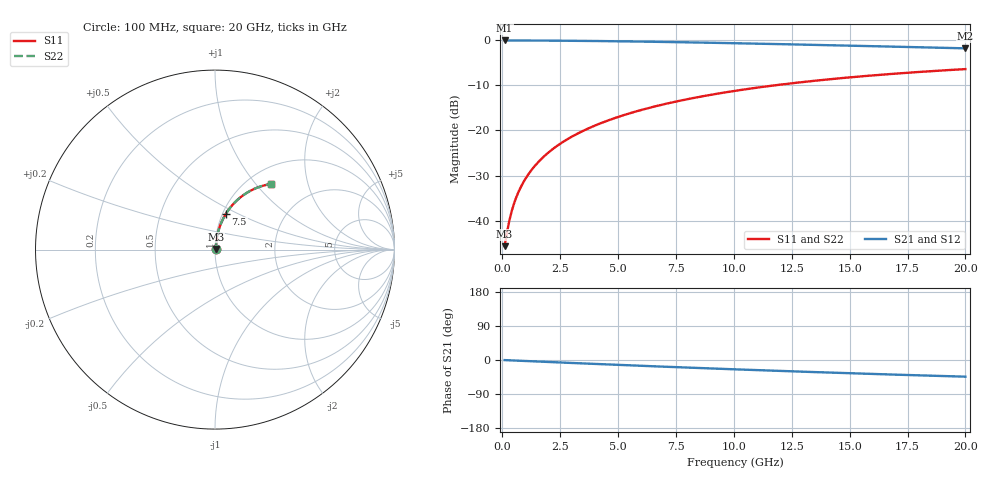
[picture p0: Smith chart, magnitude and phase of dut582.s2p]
! Touchstone file exported from HFSS 2024.1.0
!  File:  C:/UserFiles/LocalFiles/RDL_TSV_Batchsim/temp_RDL_bottom_582_1779690729.aedt
!  Generated:  02:34:44 PM May 25, 2026
!  Design:  RDL_bottom
!  Project:  temp_RDL_bottom_582_1779690729
!  Setup:  Setup1
!  Solution:  Sweep
! Variables:
!  dtsv = 10.80580581um
!  hbump = 3um
!  htsv = 90.43um
!  ldown = 560.59um
!  lrdl = 100um
!  p = 40
!  p1 = 53.16um
!  rhole = 1um
!  t = 450um
!  tdown = 3.39um
!  trdl = 3.915915916um
!  wdown = 13.99um
!  wrdl = 20um
# GHz S MA R 50.000000
! Terminal data exported
! Port[1] = RDL1_T1
! Port[2] = RDL1_T2
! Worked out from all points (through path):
!   200 points, 100 MHz to 20 GHz, reference 50 ohm
!   highest |S21| = -0.04 dB at 100 MHz (marker M1); lowest = -1.8 dB at 20 GHz (marker M2)
!   group delay of S21, straight-line fit = 6.11 ps
!   lowest |S11| = -45.7 dB at 100 MHz (marker M3), VSWR 1.01, Z = 50.4 + j0.299 ohm
!   |S11| at or under -10 dB: start of sweep to 11.76 GHz
!   |S22| runs from -45.7 to -6.4 dB; largest |S21 - S12| = 2e-15
!   S11 on the Smith chart (normalised r, x): 100 MHz: 1.01, +0.01; 7.5 GHz: 1.04, +0.43; 20 GHz: 1.26, +1.20
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0.1  0.005208 34.7  0.9957 -0.3  0.9957 -0.3  0.005208 34.7
! Gamma 0 0 0 0
! Port Impedance 50 0 50 0
0.2  0.007348 53.4  0.9956 -0.5  0.9956 -0.5  0.007348 53.4
0.3  0.009895 62.8  0.9955 -0.8  0.9955 -0.8  0.009895 62.8
0.4  0.01257 68.1  0.9953 -1.1  0.9953 -1.1  0.01257 68.1
0.5  0.0153 71.5  0.9952 -1.3  0.9952 -1.3  0.0153 71.5
0.6  0.01805 73.8  0.995 -1.6  0.995 -1.6  0.01805 73.8
0.8  0.02358 76.6  0.9946 -2.1  0.9946 -2.1  0.02358 76.6
1.1  0.03192 78.9  0.994 -2.9  0.994 -2.9  0.03192 78.9
1.5  0.0431 80.3  0.9931 -3.9  0.9931 -3.9  0.0431 80.3
1.8  0.05151 80.8  0.9922 -4.7  0.9922 -4.7  0.05151 80.8
2.1  0.05994 80.9  0.9912 -5.5  0.9912 -5.5  0.05994 80.9
2.7  0.07681 80.7  0.9888 -7.0  0.9888 -7.0  0.07681 80.7
3.5  0.09927 79.9  0.9848 -9.1  0.9848 -9.1  0.09928 79.9
4.2  0.1189 78.9  0.9807 -10.9  0.9807 -10.9  0.1189 78.9
5  0.1411 77.7  0.9751 -12.8  0.9751 -12.8  0.1411 77.7
5.9  0.1659 76.1  0.9681 -15.1  0.9681 -15.1  0.1659 76.1
6.8  0.1904 74.4  0.9604 -17.2  0.9604 -17.2  0.1904 74.4
7.5  0.2091 73.0  0.954 -18.9  0.954 -18.9  0.2092 73.1
10.1  0.2762 67.9  0.9275 -24.8  0.9275 -24.8  0.2762 67.9
13.4  0.3537 61.5  0.8906 -31.7  0.8906 -31.7  0.3537 61.5
16.7  0.4215 55.4  0.8522 -38.1  0.8522 -38.1  0.4215 55.4
20  0.4793 49.7  0.8142 -44.0  0.8142 -44.0  0.4794 49.7
